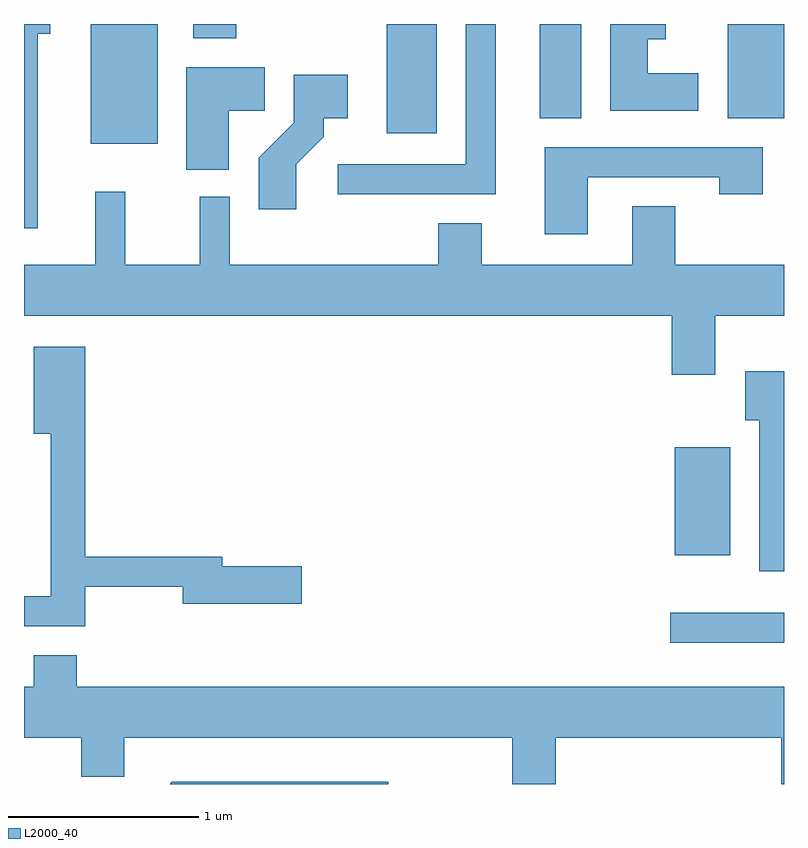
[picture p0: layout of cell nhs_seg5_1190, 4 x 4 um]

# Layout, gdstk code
import gdstk
lib = gdstk.Library(unit=1e-6, precision=1e-09)
def R(c, l, rs):  # rectangles x0, y0, x1, y1
    for r in rs: c.add(gdstk.rectangle(r[:2], r[2:], *l))
def P(c, l, *ps):  # polygons
    for p in ps: c.add(gdstk.Polygon(p, *l))
L2000_40 = (2000, 40)

nhs_seg5_1190 = lib.new_cell('nhs_seg5_1190')
R(nhs_seg5_1190, L2000_40, [(223.013,1492.816,223.611,1492.974), (223.036,1493.276,223.329,1493.844), (219.961,1495.441,220.314,1496.072), (221.521,1495.496,221.784,1496.072), (222.326,1495.576,222.544,1496.072), (223.316,1495.576,223.611,1496.072), (220.501,1495.996,220.729,1496.072)])
P(nhs_seg5_1190, L2000_40, [(222.094,1496.072),(221.936,1496.072),(221.936,1495.334),(221.263,1495.334),(221.263,1495.176),(222.094,1495.176)],
  [(219.684,1496.021),(219.749,1496.021),(219.749,1496.072),(219.611,1496.072),(219.611,1494.998),(219.684,1494.998)],
  [(223.159,1495.814),(222.894,1495.814),(222.894,1495.991),(222.989,1495.991),(222.989,1496.072),(222.696,1496.072),(222.696,1495.616),(223.159,1495.616)],
  [(220.689,1495.616),(220.879,1495.616),(220.879,1495.844),(220.466,1495.844),(220.466,1495.306),(220.689,1495.306)],
  [(221.044,1495.334),(221.189,1495.479),(221.189,1495.576),(221.314,1495.576),(221.314,1495.804),(221.031,1495.804),(221.031,1495.552),(220.846,1495.367),(220.846,1495.096),(221.044,1495.096)],
  [(222.579,1495.266),(223.271,1495.266),(223.271,1495.176),(223.499,1495.176),(223.499,1495.424),(222.351,1495.424),(222.351,1494.966),(222.579,1494.966)],
  [(223.249,1494.536),(223.611,1494.536),(223.611,1494.804),(223.039,1494.804),(223.039,1495.114),(222.811,1495.114),(222.811,1494.804),(222.019,1494.804),(222.019,1495.024),(221.791,1495.024),(221.791,1494.804),(220.694,1494.804),(220.694,1495.163),(220.536,1495.163),(220.536,1494.804),(220.144,1494.804),(220.144,1495.188),(219.986,1495.188),(219.986,1494.804),(219.611,1494.804),(219.611,1494.536),(223.021,1494.536),(223.021,1494.226),(223.249,1494.226)],
  [(219.934,1493.111),(220.446,1493.111),(220.446,1493.021),(221.074,1493.021),(221.074,1493.219),(220.654,1493.219),(220.654,1493.269),(219.934,1493.269),(219.934,1494.374),(219.661,1494.374),(219.661,1493.916),(219.751,1493.916),(219.751,1493.059),(219.611,1493.059),(219.611,1492.901),(219.934,1492.901)],
  [(223.611,1494.244),(223.406,1494.244),(223.406,1493.986),(223.481,1493.986),(223.481,1493.191),(223.611,1493.191)],
  [(222.409,1492.316),(223.596,1492.316),(223.596,1492.072),(223.611,1492.072),(223.611,1492.584),(219.889,1492.584),(219.889,1492.749),(219.661,1492.749),(219.661,1492.584),(219.611,1492.584),(219.611,1492.316),(219.911,1492.316),(219.911,1492.111),(220.139,1492.111),(220.139,1492.316),(222.181,1492.316),(222.181,1492.072),(222.409,1492.072)],
  [(221.528,1492.084),(220.389,1492.084),(220.377,1492.072),(221.528,1492.072)])

lib.write_gds('nhs_seg5_1190.gds')
